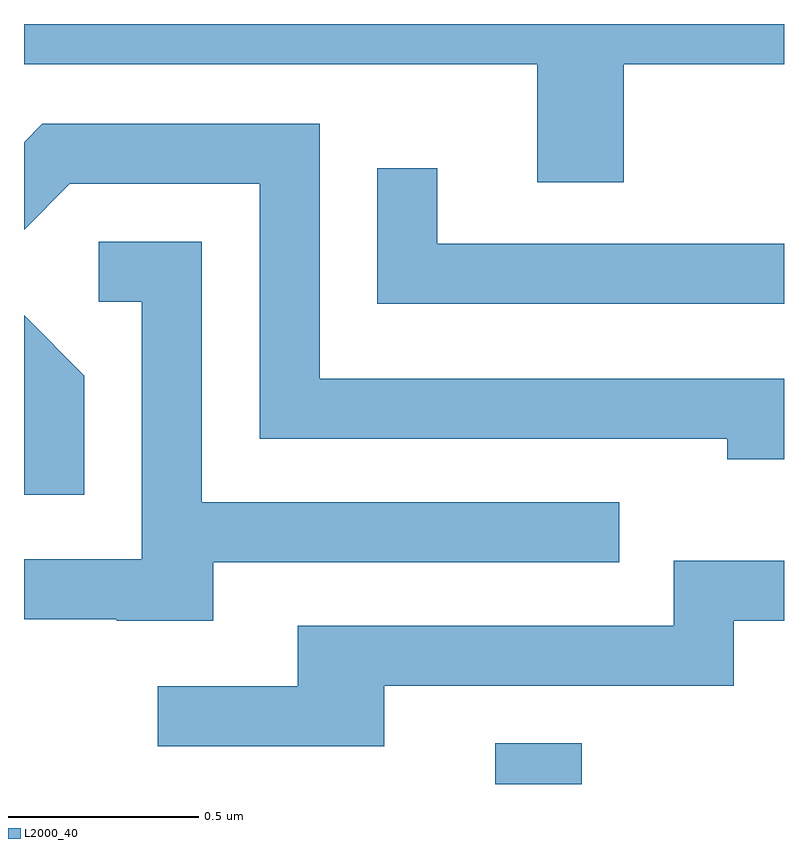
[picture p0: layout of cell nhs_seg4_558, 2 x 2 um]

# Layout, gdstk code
import gdstk
lib = gdstk.Library(unit=1e-6, precision=1e-09)
def R(c, l, rs):  # rectangles x0, y0, x1, y1
    for r in rs: c.add(gdstk.rectangle(r[:2], r[2:], *l))
def P(c, l, *ps):  # polygons
    for p in ps: c.add(gdstk.Polygon(p, *l))
L2000_40 = (2000, 40)

nhs_seg4_558 = lib.new_cell('nhs_seg4_558')
R(nhs_seg4_558, L2000_40, [(190.851,1263.982,191.079,1264.089)])
P(nhs_seg4_558, L2000_40, [(191.189,1265.876),(191.611,1265.876),(191.611,1265.982),(189.611,1265.982),(189.611,1265.876),(190.961,1265.876),(190.961,1265.566),(191.189,1265.566)],
  [(191.611,1265.049),(190.389,1265.049),(190.389,1265.719),(189.659,1265.719),(189.611,1265.671),(189.611,1265.44),(189.732,1265.561),(190.231,1265.561),(190.231,1264.891),(191.461,1264.891),(191.461,1264.836),(191.611,1264.836)],
  [(191.611,1265.404),(190.699,1265.404),(190.699,1265.603),(190.541,1265.603),(190.541,1265.246),(191.611,1265.246)],
  [(190.109,1264.566),(191.178,1264.566),(191.178,1264.724),(190.079,1264.724),(190.079,1265.409),(189.808,1265.409),(189.808,1265.251),(189.921,1265.251),(189.921,1264.574),(189.611,1264.574),(189.611,1264.416),(189.855,1264.416),(189.855,1264.411),(190.109,1264.411)],
  [(189.769,1265.057),(189.611,1265.215),(189.611,1264.743),(189.769,1264.743)],
  [(190.559,1264.241),(191.479,1264.241),(191.479,1264.411),(191.611,1264.411),(191.611,1264.569),(191.321,1264.569),(191.321,1264.399),(190.331,1264.399),(190.331,1264.239),(189.963,1264.239),(189.963,1264.081),(190.559,1264.081)])

lib.write_gds('nhs_seg4_558.gds')
